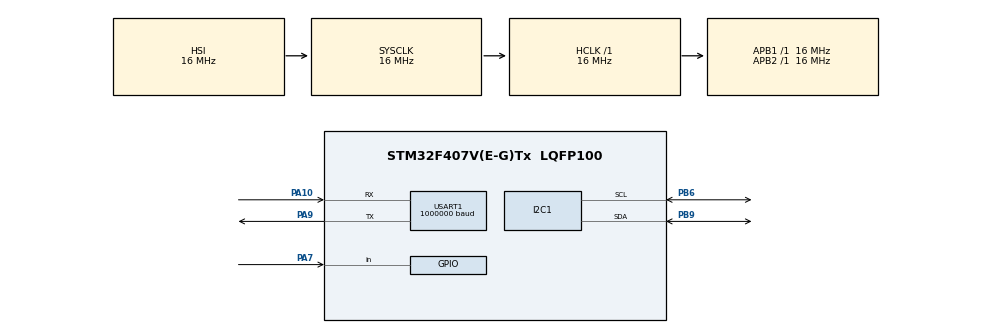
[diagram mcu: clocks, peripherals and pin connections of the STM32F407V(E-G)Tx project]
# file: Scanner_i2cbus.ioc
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I2C1.I2C_Mode=I2C_Fast
Mcu.Family=STM32F4
Mcu.Name=STM32F407V(E-G)Tx
Mcu.Package=LQFP100
NVIC.PriorityGroup=NVIC_PRIORITYGROUP_4
PA10.Mode=Asynchronous
PA10.Signal=USART1_RX
PA7.Signal=GPIO_Input
PA9.Mode=Asynchronous
PA9.Signal=USART1_TX
PB6.Mode=I2C
PB6.Signal=I2C1_SCL
PB9.Mode=I2C
PB9.Signal=I2C1_SDA
ProjectManager.HeapSize=0x200
ProjectManager.StackSize=0x400
ProjectManager.TargetToolchain=STM32CubeIDE
RCC.AHBFreq_Value=16000000
RCC.APB1Freq_Value=16000000
RCC.APB2Freq_Value=16000000
RCC.CortexFreq_Value=16000000
RCC.HSE_VALUE=25000000
RCC.HSI_VALUE=16000000
RCC.LSE_VALUE=32768
RCC.SYSCLKFreq_VALUE=16000000
RCC.VCOOutputFreq_Value=192000000
USART1.BaudRate=1000000
USART1.VirtualMode=VM_ASYNC
board=custom

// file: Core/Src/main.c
/* USER CODE BEGIN Header */
/**
 ******************************************************************************
 * @file           : main.c
 * @brief          : Main program body
 ******************************************************************************
 * @attention
 *
 * Copyright (c) 2024 STMicroelectronics.
 * All rights reserved.
 *
 * This software is licensed under terms that can be found in the LICENSE file
 * in the root directory of this software component.
 * If no LICENSE file comes with this software, it is provided AS-IS.
 *
 ******************************************************************************
 */
/* USER CODE END Header */
#include "main.h"

/* USER CODE BEGIN Includes */
#include <ssd1306.h>
#include <stdio.h>
#include <ssd1306_fonts.h>
#include <string.h>
#include "horse_anim.h"
#include "mpu6050.h"
#include "functions.h"
/* USER CODE END Includes */

I2C_HandleTypeDef hi2c1;

UART_HandleTypeDef huart1;

/* USER CODE BEGIN PV */
uint8_t check1 = 0;
uint8_t check2 = 0;
HAL_StatusTypeDef ret;
uint8_t y = 5;
char buffer_address[5];
int verifica = 0;
/* USER CODE END PV */

void SystemClock_Config(void);
static void MX_GPIO_Init(void);
static void MX_I2C1_Init(void);
static void MX_USART1_UART_Init(void);

int main(void)
{

  /* MCU Configuration--------------------------------------------------------*/

  /* Reset of all peripherals, Initializes the Flash interface and the Systick. */
  HAL_Init();

  /* Configure the system clock */
  SystemClock_Config();

  /* Initialize all configured peripherals */
  MX_GPIO_Init();
  MX_I2C1_Init();
  MX_USART1_UART_Init();
  /* USER CODE BEGIN 2 */

	/* Inicialize o display SSD1306 */
	ssd1306_Init();
	/* Exiba a mensagem no display */
//	ssd1306_Fill(0); // Clear the display
//	ssd1306_SetCursor(2, 30); // Set the starting position
//	ssd1306_WriteString("Hello World", Font_7x10, 1); // Write the message
//	ssd1306_UpdateScreen(); // Update the display
	/*Mostrar uma leitura do acelerômetro, no display*/

	MPU6050_Init();
	HAL_Delay(1);

  /* USER CODE END 2 */

  /* Infinite loop */
	while (1) {

    /* USER CODE BEGIN 3 */

		ssd1306_Fill(0); // Sets all pixels in the buffer to white

		verifica = HAL_GPIO_ReadPin(GPIOA, GPIO_PIN_7);

		if(verifica)
		{
			i2c_clock_speed(100000);
			ssd1306_SetCursor(30, y); // Positions the "cursor" at the corresponding pixel
			ssd1306_WriteString("FREQ 100KHZ", Font_6x8, 1); // Writes the text to the buffer
			y = y + 20;

			for (uint8_t i = 0; i < 128; i++) {
				ret = HAL_I2C_IsDeviceReady(&hi2c1, (i << 1), 1, 100);

				if (ret == HAL_OK) {
					ssd1306_SetCursor(2, y); // Positions the "cursor" at the corresponding pixel
					ssd1306_WriteString("Address: ", Font_6x8, 1); // Writes the text to the buffer
					int_to_hex(i, buffer_address);
					ssd1306_WriteString(buffer_address, Font_6x8, 1); // Writes the text to the buffer
					ssd1306_UpdateScreen();
					y = y + 10;
				}
			}
		} else {

			i2c_clock_speed(400000);
			ssd1306_SetCursor(30, y); // Positions the "cursor" at the corresponding pixel
			ssd1306_WriteString("FREQ 400KHZ", Font_6x8, 1); // Writes the text to the buffer
			y = y + 20;

			for (uint8_t i = 0; i < 128; i++) {
				ret = HAL_I2C_IsDeviceReady(&hi2c1, (i << 1), 1, 100);

				if (ret == HAL_OK) {
					ssd1306_SetCursor(2, y); // Positions the "cursor" at the corresponding pixel
					ssd1306_WriteString("Address: ", Font_6x8, 1); // Writes the text to the buffer
					int_to_hex(i, buffer_address);
					ssd1306_WriteString(buffer_address, Font_6x8, 1); // Writes the text to the buffer
					ssd1306_UpdateScreen();
					y = y + 10;
				}
			}
		}

		HAL_Delay(5000);
		y = 5;
		ssd1306_Fill(0);
		ssd1306_UpdateScreen();

	}
  /* USER CODE END 3 */
}

void SystemClock_Config(void)
{
  RCC_OscInitTypeDef RCC_OscInitStruct = {0};
  RCC_ClkInitTypeDef RCC_ClkInitStruct = {0};

  /** Configure the main internal regulator output voltage
  */
  __HAL_RCC_PWR_CLK_ENABLE();
  __HAL_PWR_VOLTAGESCALING_CONFIG(PWR_REGULATOR_VOLTAGE_SCALE1);

  /** Initializes the RCC Oscillators according to the specified parameters
  * in the RCC_OscInitTypeDef structure.
  */
  RCC_OscInitStruct.OscillatorType = RCC_OSCILLATORTYPE_HSI;
  RCC_OscInitStruct.HSIState = RCC_HSI_ON;
  RCC_OscInitStruct.HSICalibrationValue = RCC_HSICALIBRATION_DEFAULT;
  RCC_OscInitStruct.PLL.PLLState = RCC_PLL_NONE;
  if (HAL_RCC_OscConfig(&RCC_OscInitStruct) != HAL_OK)
  {
    Error_Handler();
  }

  /** Initializes the CPU, AHB and APB buses clocks
  */
  RCC_ClkInitStruct.ClockType = RCC_CLOCKTYPE_HCLK|RCC_CLOCKTYPE_SYSCLK
                              |RCC_CLOCKTYPE_PCLK1|RCC_CLOCKTYPE_PCLK2;
  RCC_ClkInitStruct.SYSCLKSource = RCC_SYSCLKSOURCE_HSI;
  RCC_ClkInitStruct.AHBCLKDivider = RCC_SYSCLK_DIV1;
  RCC_ClkInitStruct.APB1CLKDivider = RCC_HCLK_DIV1;
  RCC_ClkInitStruct.APB2CLKDivider = RCC_HCLK_DIV1;

  if (HAL_RCC_ClockConfig(&RCC_ClkInitStruct, FLASH_LATENCY_0) != HAL_OK)
  {
    Error_Handler();
  }
}

static void MX_I2C1_Init(void)
{

  hi2c1.Instance = I2C1;
  hi2c1.Init.ClockSpeed = 400000;
  hi2c1.Init.DutyCycle = I2C_DUTYCYCLE_2;
  hi2c1.Init.OwnAddress1 = 0;
  hi2c1.Init.AddressingMode = I2C_ADDRESSINGMODE_7BIT;
  hi2c1.Init.DualAddressMode = I2C_DUALADDRESS_DISABLE;
  hi2c1.Init.OwnAddress2 = 0;
  hi2c1.Init.GeneralCallMode = I2C_GENERALCALL_DISABLE;
  hi2c1.Init.NoStretchMode = I2C_NOSTRETCH_DISABLE;
  if (HAL_I2C_Init(&hi2c1) != HAL_OK)
  {
    Error_Handler();
  }

}

static void MX_USART1_UART_Init(void)
{

  huart1.Instance = USART1;
  huart1.Init.BaudRate = 1000000;
  huart1.Init.WordLength = UART_WORDLENGTH_8B;
  huart1.Init.StopBits = UART_STOPBITS_1;
  huart1.Init.Parity = UART_PARITY_NONE;
  huart1.Init.Mode = UART_MODE_TX_RX;
  huart1.Init.HwFlowCtl = UART_HWCONTROL_NONE;
  huart1.Init.OverSampling = UART_OVERSAMPLING_16;
  if (HAL_UART_Init(&huart1) != HAL_OK)
  {
    Error_Handler();
  }

}

static void MX_GPIO_Init(void)
{
  GPIO_InitTypeDef GPIO_InitStruct = {0};

  /* GPIO Ports Clock Enable */
  __HAL_RCC_GPIOA_CLK_ENABLE();
  __HAL_RCC_GPIOB_CLK_ENABLE();

  /*Configure GPIO pin : PA7 */
  GPIO_InitStruct.Pin = GPIO_PIN_7;
  GPIO_InitStruct.Mode = GPIO_MODE_INPUT;
  GPIO_InitStruct.Pull = GPIO_NOPULL;
  HAL_GPIO_Init(GPIOA, &GPIO_InitStruct);

}

/* USER CODE BEGIN 4 */

//void HAL_GPIO_EXTI_Callback(uint16_t GPIO_Pin)
//{
//	verifica = 1;
//}

int __io_putchar(int ch) {
	USART1->DR = (ch & (uint16_t) 0x01FF);
	while (!(USART1->SR & USART_SR_TXE))
		;//espera pelo fim da transmissão do caractere para evitar a segunda transmissão antes da primeira ser concluída
	return ch;
}
int __io_getchar(void) {
	return (uint16_t) (USART1->DR & (uint16_t) 0x01FF);
}
//ISR da USART1. Todas as ISR's estão definidas no arquivo startup_stm32.s
void USART1_IRQHandler(void) {
	__io_putchar(__io_getchar());
}

/* USER CODE END 4 */

void Error_Handler(void)
{
	__disable_irq();
	while (1) {
	}
}
